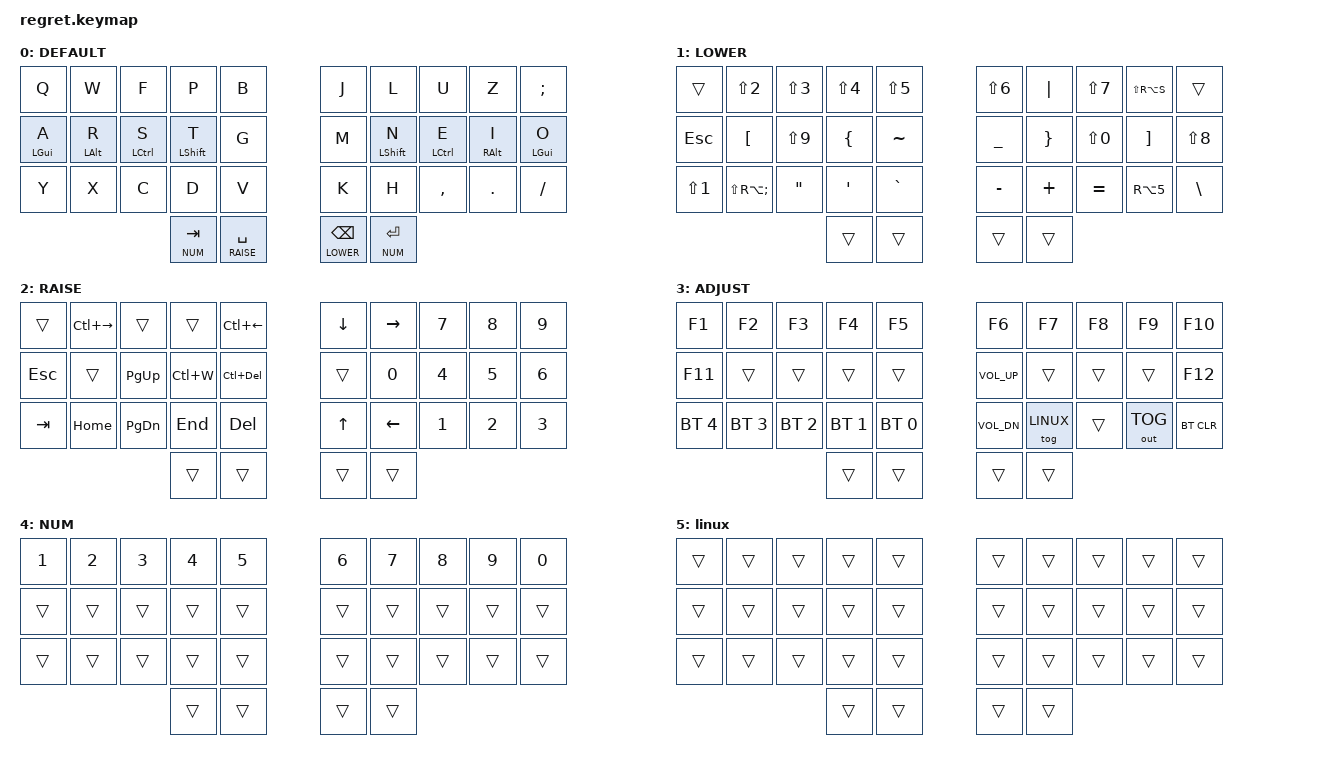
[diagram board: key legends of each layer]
#include <behaviors.dtsi>
#include <dt-bindings/zmk/keys.h>
#include <dt-bindings/zmk/bt.h>
#include <dt-bindings/zmk/rgb.h>
#include <dt-bindings/zmk/outputs.h>

#define DEFAULT 0
#define LOWER 1
#define RAISE 2
#define ADJUST 3
#define NUM 4
#define LINUX 5

#define UMLAUT_AQ <10 0>
#define UMLAUT_SF <12 2>
#define UMLAUT_UE <7 17>
#define UMLAUT_OS <19 9>
#define UMLAUT_MAC_LAYERS <0 1 2 3 4>
#define UMLAUT_LIN_LAYERS <5>

&lt {
    flavor = "tap-preferred";
    quick-tap-ms = <200>;
};
/ {
    combos {
        compatible = "zmk,combos";
        /* Top corners (Q+P) = bootloader */
        combo_boot {
            key-positions = <0 9>;
            bindings = <&bootloader>;
        };
        /* Bottom corners (Z+/) = RGB toggle */
        combo_rgb_tog {
            key-positions = <20 29>;
            bindings = <&rgb_ug RGB_TOG>;
        };
        #include "umlaut_combos.dtsi"
    };
    chosen {
      zmk,battery = &vbatt;
    };

    vbatt: vbatt {
        compatible = "zmk,battery-nrf-vddh";
    };

    conditional_layers {
        compatible = "zmk,conditional-layers";
        tri_layer {
            if-layers = <1 2>;
            then-layer = <3>;
        };
    };
    behaviors {
        #include "umlaut_macros.dtsi"
        hm: homerow_mods {
            compatible = "zmk,behavior-hold-tap";
            label = "HOMEROW_MODS";
            #binding-cells = <2>;
            tapping-term-ms = <170>;
            quick-tap-ms = <100>;
            flavor = "balanced";
            bindings = <&kp>, <&kp>;
        };
        // hm: homerow_mods {
        //     compatible = "zmk,behavior-hold-tap";
        //     label = "HOMEROW_MODS";
        //     #binding-cells = <2>;
        //     tapping-term-ms = <350>;
        //     quick-tap-ms = <0>;
        //     flavor = "balanced";
        //     bindings = <&kp>, <&kp>;
        // };
    };

    keymap {
        compatible = "zmk,keymap";

        default_layer {
            label= "DEFAULT";
// --------------------------------------------------------------------------------------------------------------------------
//                |  Q  |  W  |  F  |  P  |  B  |                 |  J  |  L  |  U  |  Z  |  ;  |
//                |  A  |  R  |  S  |  T  |  G  |                 |  M  |  N  |  E  |  I  |  O  |
//                |  Y  |  X  |  C  |  D  |  V  |                 |  K  |  H  |  ,  |  .  |  /  |
//                                  | TAB | SPC |                 | BSP | ENT |
            bindings = <
                &kp Q      &kp W      &kp F         &kp P           &kp B               &kp J          &kp L          &kp U         &kp Z      &kp SEMI
                &hm LGUI A &hm LALT R &hm LCTRL S   &hm LSHFT T     &kp G               &kp M          &hm LSHFT N    &hm LCTRL E   &hm RALT I &hm LGUI O
                &kp Y      &kp X      &kp C         &kp D           &kp V               &kp K          &kp H          &kp COMMA     &kp DOT    &kp FSLH
                                                    &lt NUM TAB     &lt RAISE SPACE     &lt LOWER BSPC &lt NUM RET
            >;
        };

        lower_layer {
            label= "LOWER";
// --------------------------------------------------------------------------------------------------------------------------
//                |     |  @  |  #  |  $  |  %  |                 |  ^  |  |  |  &  |  §  |     |
//                | ESC |  [  |  (  |  {  |  ~  |                 |  _  |  }  |  )  |  ]  |  *  |
//                |  !  |  °  |  "  |  '  |  `  |                 |  -  |  +  |  =  |  €  |  \  |
//                                  |     |     |                 |     |     |
            bindings = <
                &trans     &kp LS(N2)       &kp LS(N3) &kp LS(N4) &kp LS(N5)            &kp LS(N6) &kp PIPE &kp LS(N7) &kp LS(RA(S)) &trans
                &kp ESC    &kp LBKT         &kp LS(N9) &kp LBRC   &kp TILDE             &kp UNDER  &kp RBRC &kp LS(N0) &kp RBKT      &kp LS(N8)
                &kp LS(N1) &kp LS(RA(SEMI)) &kp DQT    &kp SQT    &kp GRAVE             &kp MINUS  &kp PLUS &kp EQUAL  &kp RA(N5)    &kp BSLH
                                                       &trans     &trans                &trans     &trans
            >;
        };

        raise_layer {
            label= "RAISE";
// --------------------------------------------------------------------------------------------------------------------------
//                |     | WOR |     |     | WOB |                |  v  |  <  |  7  |  8  |  9  |
//                | ESC |     | PGD | BSW | DEW |                |     |  0  |  4  |  5  |  6  |
//                | TAB | HOM | PGU | END | DEL |                |  ^  |  >  |  1  |  2  |  3  |
//                                  |     |     |                |     |     |
            bindings = <
                &trans   &kp LC(RIGHT) &trans     &trans    &kp LC(LEFT)                &kp DOWN  &kp RIGHT &kp N7  &kp N8 &kp N9
                &kp ESC  &trans        &kp PG_UP  &kp LC(W) &kp LC(DEL)                 &trans    &kp N0    &kp N4  &kp N5 &kp N6
                &kp TAB  &kp HOME      &kp PG_DN  &kp END   &kp DEL                     &kp UP    &kp LEFT  &kp N1  &kp N2 &kp N3
                                                  &trans    &trans                      &trans    &trans
            >;
        };

        adjust_layer {
            label= "ADJUST";
// --------------------------------------------------------------------------------------------------------------------------
//                | F1  | F2  | F3  | F4  | F5  |                | F6  | F7  | F8  | F9  | F10 |
//                | F11 |     |     |     |     |                | V+  |     |     |     | F12 |
//                | bt0 | bt1 | bt2 | bt3 | bt4 |                | V-  |     |     | btc | btt |
//                                  |     |     |                |     |     |
            bindings = <
                &kp F1        &kp F2        &kp F3        &kp F4        &kp F5          &kp F6        &kp F7   &kp F8   &kp F9       &kp F10
                &kp F11       &trans        &trans        &trans        &trans          &kp K_VOL_UP  &trans   &trans   &trans       &kp F12
                &bt BT_SEL 4  &bt BT_SEL 3  &bt BT_SEL 2  &bt BT_SEL 1  &bt BT_SEL 0    &kp K_VOL_DN  &tog LINUX &trans   &out OUT_TOG &bt BT_CLR
                                                          &trans        &trans          &trans        &trans
            >;
        };

        num_layer {
            label= "NUM";
// --------------------------------------------------------------------------------------------------------------------------
//                |     |     |     |     |     |                |     |     |     |     |     |
//                | 1   | 2   | 3   | 4   | 5   |                | 6   | 7   | 8   | 9   | 0   |
//                |     |     |     |     |     |                |     |     |     |     |     |
//                                  |     |     |                |     |     |
            bindings = <
                &kp N1  &kp N2 &kp N3 &kp N4  &kp N5    &kp N6  &kp N7  &kp N8  &kp N9  &kp N0
                &trans  &trans &trans &trans  &trans    &trans  &trans  &trans  &trans  &trans
                &trans  &trans &trans &trans  &trans    &trans  &trans  &trans  &trans  &trans
                                      &trans  &trans    &trans  &trans
            >;
        };

        linux {
            bindings = <
&trans &trans &trans &trans &trans   &trans &trans &trans &trans &trans
&trans &trans &trans &trans &trans   &trans &trans &trans &trans &trans
&trans &trans &trans &trans &trans   &trans &trans &trans &trans &trans
                     &trans &trans   &trans &trans
            >;
        };
    };
};

